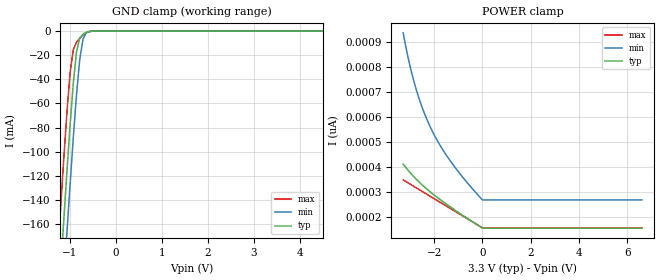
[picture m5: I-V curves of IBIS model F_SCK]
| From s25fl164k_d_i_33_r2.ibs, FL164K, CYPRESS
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|   Model   F_SCK
[Model]   F_SCK
Model_type Input
Vinl =   0.9900V | Vinl = 0.3*Vio
Vinh =   2.3100V | Vinh = 0.7*Vio
C_comp   2.35pF   2.26pF   2.50pF
[Temperature Range]   25.0000   85.0000   -40.0000
[Pullup Reference]   3.3000V   2.7000V   3.6000V
[Pulldown Reference]   0.0V   0.0V   0.0V
[POWER Clamp Reference]   3.3000V   2.7000V   3.6000V
[GND Clamp Reference]   0.0V   0.0V   0.0V
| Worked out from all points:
|   GND clamp passes 1 mA (typ) near -0.63 V on its own axis
[GND_clamp]
|Voltage   I(typ)   I(min)   I(max)
-3.3V     -1.566A    -1.616A    -1.518A
-1.27V    -243.7mA   -295.9mA   -191.6mA
-1.2V     -200.5mA   -252.5mA   -148.6mA
-1.13V    -158mA     -209.6mA   -107mA
-1.06V    -116.8mA   -167.6mA   -67.8mA
-990mV    -77.71mA   -126.8mA   -34.39mA
-920mV    -42.72mA   -87.81mA   -15.22mA
-850mV    -16.88mA   -52.26mA   -9.287mA
-780mV    -5.811mA   -23.32mA   -5.856mA
-710mV    -2.601mA   -6.554mA   -3.145mA
-640mV    -1.085mA   -1.448mA   -1.278mA
6.6V      157.1pA    335.4pA    141.1pA
[POWER_clamp]
|Voltage   I(typ)   I(min)   I(max)
-3.28V    412.8pA    936.2pA    349.8pA
-3.16V    397.9pA    875.8pA    342.7pA
-3.04V    384pA      821.8pA    335.6pA
-2.92V    370.9pA    773.5pA    328.6pA
-2.76V    354.5pA    716.9pA    319.2pA
-2.48V    328.5pA    634.9pA    302.8pA
-2.16V    301.9pA    561.2pA    284.1pA
-1.76V    271.9pA    488.7pA    260.8pA
-1.28V    238.8pA    418.7pA    232.9pA
-720mV    202.3pA    349.2pA    200.3pA
0V        157.1pA    269.7pA    158.5pA
6.6V      157.1pA    269.7pA    158.5pA
